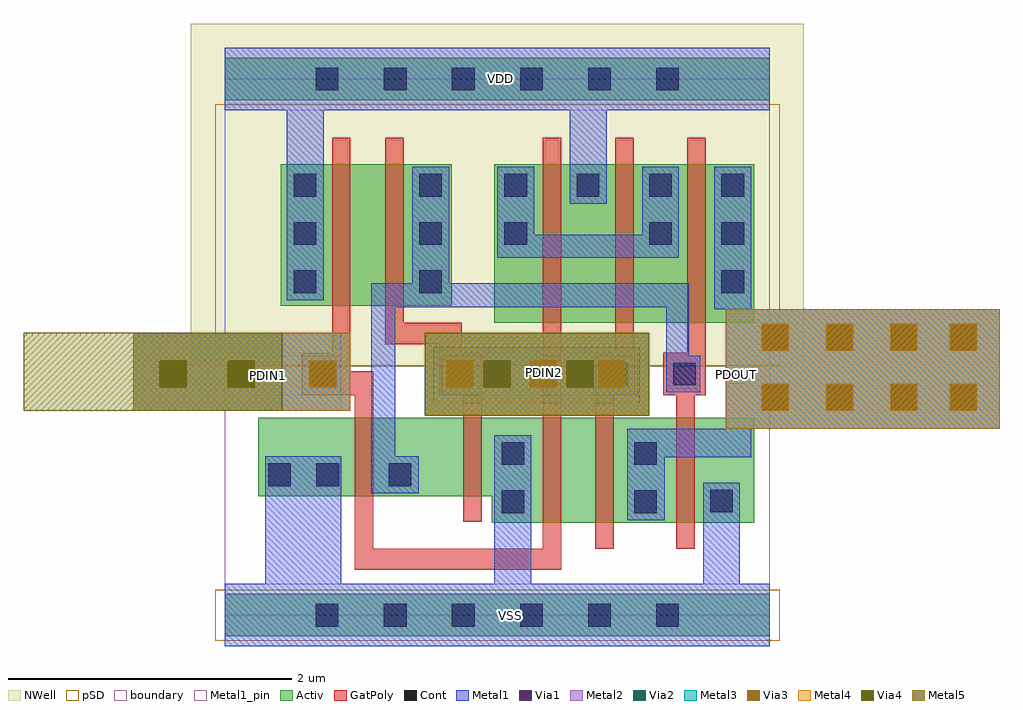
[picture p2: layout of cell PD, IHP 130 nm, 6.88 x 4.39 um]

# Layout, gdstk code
import gdstk
lib = gdstk.Library(unit=1e-6, precision=1e-09)
def R(c, l, rs):  # rectangles x0, y0, x1, y1
    for r in rs: c.add(gdstk.rectangle(r[:2], r[2:], *l))
def A(c, l, x, y, w, h, nx, ny, dx, dy):  # array of equal rectangles
    R(c, l, [(x+i*dx, y+j*dy, x+i*dx+w, y+j*dy+h) for i in range(nx) for j in range(ny)])
def P(c, l, *ps):  # polygons
    for p in ps: c.add(gdstk.Polygon(p, *l))
Activ = (1, 0)
GatPoly = (5, 0)
Cont = (6, 0)
Metal1 = (8, 0)
Metal1_pin = (8, 2)
Metal2 = (10, 0)
pSD = (14, 0)
Via1 = (19, 0)
Via2 = (29, 0)
Metal3 = (30, 0)
NWell = (31, 0)
Via3 = (49, 0)
Metal4 = (50, 0)
Via4 = (66, 0)
Metal5 = (67, 0)
boundary = (189, 4)

sg13g2_xor2_1 = lib.new_cell('sg13g2_xor2_1')
R(sg13g2_xor2_1, Activ, [(27.59,55.31,31.43,55.61), (29.49,57.52,31.32,58.64), (27.985,57.64,29.19,58.64), (27.59,59.09,31.43,59.39)])
P(sg13g2_xor2_1, Activ, [(29.47,56.11),(29.47,56.3),(27.825,56.3),(27.825,56.85),(31.32,56.85),(31.32,56.11)])
P(sg13g2_xor2_1, GatPoly, [(29.27,56.12),(29.27,57.01),(29.1,57.01),(29.1,57.37),(28.72,57.37),(28.72,58.825),(28.85,58.825),(28.85,57.52),(29.26,57.52),(29.26,57.31),(29.4,57.31),(29.4,56.12)],
  [(30.2,55.93),(30.2,57.31),(30.34,57.31),(30.34,58.825),(30.47,58.825),(30.47,57.31),(30.5,57.31),(30.5,57.01),(30.33,57.01),(30.33,55.93)],
  [(30.77,55.93),(30.77,57.01),(30.68,57.01),(30.68,57.31),(30.85,57.31),(30.85,58.825),(30.98,58.825),(30.98,57.01),(30.9,57.01),(30.9,55.93)],
  [(28.505,55.78),(28.505,57.01),(28.13,57.01),(28.13,57.31),(28.345,57.31),(28.345,58.825),(28.475,58.825),(28.475,57.18),(28.635,57.18),(28.635,55.93),(29.83,55.93),(29.83,58.825),(29.96,58.825),(29.96,55.78)])
A(sg13g2_xor2_1, Cont, 29.67, 55.38, 0.16, 0.16, 3, 1, 0.48, 0)
A(sg13g2_xor2_1, Cont, 28.075, 57.73, 0.16, 0.16, 1, 3, 0, 0.34)
A(sg13g2_xor2_1, Cont, 28.96, 57.73, 0.16, 0.16, 1, 3, 0, 0.34)
A(sg13g2_xor2_1, Cont, 29.56, 58.41, 0.16, 0.16, 4, 1, 0.51, 0)
A(sg13g2_xor2_1, Cont, 28.23, 59.16, 0.16, 0.16, 6, 1, 0.48, 0)
R(sg13g2_xor2_1, Cont, [(28.23,55.38,28.39,55.54), (28.71,55.38,28.87,55.54), (29.54,56.18,29.7,56.34), (30.475,56.18,30.635,56.34), (31.01,56.185,31.17,56.345), (27.895,56.37,28.055,56.53), (28.235,56.37,28.395,56.53), (28.745,56.37,28.905,56.53), (29.54,56.52,29.7,56.68), (30.475,56.52,30.635,56.68), (29.17,57.08,29.33,57.24), (30.27,57.08,30.43,57.24), (30.75,57.08,30.91,57.24), (31.09,57.73,31.25,57.89), (29.56,58.07,29.72,58.23), (30.58,58.07,30.74,58.23), (31.09,58.07,31.25,58.23)])
R(sg13g2_xor2_1, Metal1, [(27.79,57.01,28.41,57.29), (29.12,57.01,30.48,57.29)])
P(sg13g2_xor2_1, Metal1, [(29.51,57.98),(29.51,58.62),(29.77,58.62),(29.77,58.14),(30.53,58.14),(30.53,58.62),(30.79,58.62),(30.79,57.98)],
  [(28.025,57.68),(28.025,59.02),(27.59,59.02),(27.59,59.46),(31.43,59.46),(31.43,59.02),(30.28,59.02),(30.28,58.36),(30.02,58.36),(30.02,59.02),(28.285,59.02),(28.285,57.68)],
  [(27.59,55.24),(27.59,55.68),(27.875,55.68),(27.875,56.58),(28.41,56.58),(28.41,55.68),(29.49,55.68),(29.49,56.73),(29.75,56.73),(29.75,55.68),(30.96,55.68),(30.96,56.395),(31.22,56.395),(31.22,55.68),(31.43,55.68),(31.43,55.24)],
  [(30.425,56.13),(30.425,56.775),(31.12,56.775),(31.12,57.615),(31.04,57.615),(31.04,58.62),(31.3,58.62),(31.3,56.575),(30.69,56.575),(30.69,56.13)],
  [(28.62,56.32),(28.62,57.8),(28.91,57.8),(28.91,58.62),(29.17,58.62),(29.17,57.8),(30.86,57.8),(30.86,57.29),(30.94,57.29),(30.94,57.03),(30.7,57.03),(30.7,57.63),(28.79,57.63),(28.79,56.58),(28.955,56.58),(28.955,56.32)])
R(sg13g2_xor2_1, Metal1_pin, [(27.59,55.24,31.43,55.68), (27.79,57.01,28.41,57.29), (29.12,57.01,30.48,57.29), (31.04,57.615,31.3,58.62), (27.59,59.02,31.43,59.46)])
R(sg13g2_xor2_1, pSD, [(27.52,55.28,31.5,55.64), (27.52,57.22,31.5,59.06)])
R(sg13g2_xor2_1, NWell, [(27.35,57.21,31.67,59.63)])
R(sg13g2_xor2_1, boundary, [(27.59,55.46,31.43,59.24)])
sg13g2_xor2_1.add(gdstk.Label('X', (31.095,58.095), layer=8, texttype=25))
sg13g2_xor2_1.add(gdstk.Label('VDD', (29.89,59.235), layer=8, texttype=25))
sg13g2_xor2_1.add(gdstk.Label('B', (29.845,57.185), layer=8, texttype=25))
sg13g2_xor2_1.add(gdstk.Label('A', (28.11,57.09), layer=8, texttype=25))
sg13g2_xor2_1.add(gdstk.Label('VSS', (29.68,55.48), layer=8, texttype=25))

c_pd = lib.new_cell('PD')
A(c_pd, Cont, 28.23, 55.38, 0.16, 0.16, 3, 1, 0.48, 0)
A(c_pd, Cont, 28.23, 59.16, 0.16, 0.16, 5, 1, 0.48, 0)
R(c_pd, Cont, [(30.15,55.38,30.31,55.54), (30.63,55.38,30.79,55.54)])
R(c_pd, Metal1, [(31.12,56.775,33.05,57.615), (26.945,56.9,28.41,57.45), (29.06,56.955,30.515,57.35)])
R(c_pd, Metal1_pin, [(29.54,55.395,29.67,55.525), (27.8,57.055,27.99,57.245), (31.13,57.09,31.26,57.22), (29.775,57.105,29.905,57.235), (29.465,59.18,29.595,59.31)])
R(c_pd, Metal2, [(31.12,56.775,33.05,57.615), (29,56.87,30.58,57.45), (26.945,56.9,28.475,57.45)])
R(c_pd, Via1, [(31.375,56.9,31.565,57.09), (31.83,56.9,32.02,57.09), (32.28,56.9,32.47,57.09), (32.7,56.9,32.89,57.09), (27.13,57.065,27.32,57.255), (27.61,57.065,27.8,57.255), (28.185,57.065,28.375,57.255), (29.15,57.065,29.34,57.255), (29.74,57.065,29.93,57.255), (30.22,57.065,30.41,57.255), (31.375,57.325,31.565,57.515), (31.83,57.325,32.02,57.515), (32.28,57.325,32.47,57.515), (32.7,57.325,32.89,57.515)])
R(c_pd, Via2, [(31.375,56.9,31.565,57.09), (31.83,56.9,32.02,57.09), (32.28,56.9,32.47,57.09), (32.7,56.9,32.89,57.09), (27.13,57.065,27.32,57.255), (27.61,57.065,27.8,57.255), (28.185,57.065,28.375,57.255), (29.15,57.065,29.34,57.255), (29.74,57.065,29.93,57.255), (30.22,57.065,30.41,57.255), (31.375,57.325,31.565,57.515), (31.83,57.325,32.02,57.515), (32.28,57.325,32.47,57.515), (32.7,57.325,32.89,57.515)])
R(c_pd, Metal3, [(31.12,56.775,33.05,57.615), (29,56.87,30.58,57.45), (26.945,56.9,28.475,57.45)])
R(c_pd, Via3, [(31.375,56.9,31.565,57.09), (31.83,56.9,32.02,57.09), (32.28,56.9,32.47,57.09), (32.7,56.9,32.89,57.09), (27.13,57.065,27.32,57.255), (27.61,57.065,27.8,57.255), (28.185,57.065,28.375,57.255), (29.15,57.065,29.34,57.255), (29.74,57.065,29.93,57.255), (30.22,57.065,30.41,57.255), (31.375,57.325,31.565,57.515), (31.83,57.325,32.02,57.515), (32.28,57.325,32.47,57.515), (32.7,57.325,32.89,57.515)])
R(c_pd, Metal4, [(31.12,56.775,33.05,57.615), (29,56.87,30.58,57.45), (26.945,56.9,28.475,57.45)])
R(c_pd, Via4, [(27.13,57.065,27.32,57.255), (27.61,57.065,27.8,57.255), (29.415,57.065,29.605,57.255), (30,57.065,30.19,57.255)])
R(c_pd, Metal5, [(29,56.865,30.58,57.45), (26.17,56.9,27.995,57.45)])
c_pd.add(gdstk.Reference(sg13g2_xor2_1, (0,0)))
c_pd.add(gdstk.Label('PDIN1', (27.895,57.15), layer=8, texttype=25))
c_pd.add(gdstk.Label('PDIN2', (29.84,57.17), layer=8, texttype=25))
c_pd.add(gdstk.Label('PDOUT', (31.195,57.155), layer=8, texttype=25))
c_pd.add(gdstk.Label('VDD', (29.53,59.245), layer=8, texttype=25))
c_pd.add(gdstk.Label('VSS', (29.605,55.46), layer=8, texttype=25))

lib.write_gds('PD.gds')
